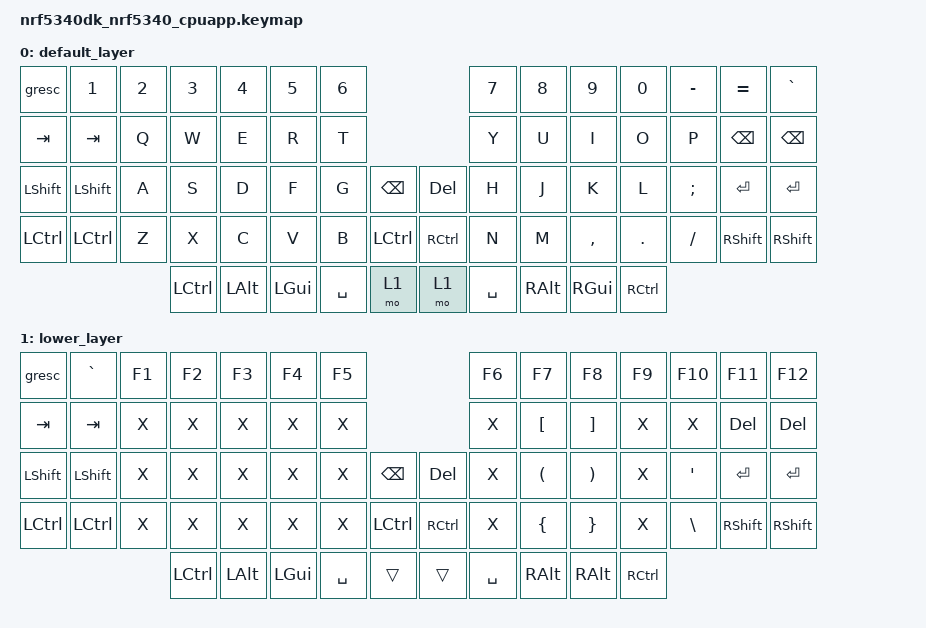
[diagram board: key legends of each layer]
/*
 * Copyright (c) 2021 Marco Sterbik
 *
 * SPDX-License-Identifier: MIT
 */

#include <behaviors.dtsi>
#include <dt-bindings/zmk/keys.h>
#include <dt-bindings/zmk/rgb.h>
#include <dt-bindings/zmk/bt.h>

/ {
	keymap {
		compatible = "zmk,keymap";
		
		default_layer {
// -------------------------------------------
// | ESC  |  `   |  1    |  2   |  3    |  4   |  5           ||        | 6    | 7    | 8    | 9    | 0    | -    | =    |
// | TAB         |  Q    |  W   |  E    |  R   |  T           ||        | Y    | U    | I    | O    | P    | BSPC        |
// | SHIFT       |  A    |  S   |  D    |  F   |  G   | BSPC  || DEL    | H    | J    | K    | L    | SEMI | ENTER       |
// | CTRL        |  Z    |  X   |  C    |  V   |  B   | CTRL  || CTRL   | N    | M    | COMMA| DOT  | FSLH | SHIFT       |
// |                           unused \\  WIN  | SPACE| MOD 1 || MOD 1| SPACE | ALT // unused
// ---------------------------------------------------||--------
			bindings = <
	&gresc      &kp N1      &kp N2      &kp N3      &kp N4      &kp N5      &kp N6                              &kp N7      &kp N8      &kp N9      &kp N0      &kp MINUS   &kp EQUAL   &kp GRAVE
	&kp TAB     &kp TAB     &kp Q       &kp W       &kp E       &kp R       &kp T                               &kp Y       &kp U       &kp I       &kp O       &kp P       &kp BSPC    &kp BSPC
	&kp LSHFT   &kp LSHFT   &kp A       &kp S       &kp D       &kp F       &kp G       &kp BSPC    &kp DEL     &kp H       &kp J       &kp K       &kp L       &kp SEMI    &kp ENTER   &kp ENTER 
	&kp LCTRL   &kp LCTRL   &kp Z       &kp X       &kp C       &kp V       &kp B       &kp LCTRL   &kp RCTRL   &kp N       &kp M       &kp COMMA   &kp DOT     &kp FSLH    &kp RSHFT   &kp RSHFT 
                                        &kp LCTRL   &kp LALT    &kp LGUI    &kp SPACE   &mo 1       &mo 1       &kp SPACE   &kp RALT    &kp RGUI    &kp RCTRL 
            >;
		};

        lower_layer {
// -------------------------------------------
// | ESC  |  `   |  1  |  2  |  3  |  4  |  5  |
// | TAB  | TAB  |  Q  |  W  |  E  |  R  |  T  |
// | CAPS | CAPS |  A  |  S  |  D  |  F  |  G  |
// | SHIFT| SHIFT|  Z  |  X  |  C  |  V  |  B  |
// |  CTL  |  WIN  |  ALT  |            SPACE              |  ALT  |  WIN  |  MO(1) |  CTL  |
// ------------------------------------------------------------------------------------------
			bindings = <
	&gresc      &kp GRAVE   &kp F1      &kp F2      &kp F3      &kp F4      &kp F5                              &kp F6      &kp F7      &kp F8      &kp F9      &kp F10     &kp F11     &kp F12  
	&kp TAB     &kp TAB     &kp X       &kp X       &kp X       &kp X       &kp X                               &kp X       &kp LBKT    &kp RBKT    &kp X       &kp X       &kp DEL     &kp DEL
	&kp LSHFT   &kp LSHFT   &kp X       &kp X       &kp X       &kp X       &kp X       &kp BSPC    &kp DEL     &kp X       &kp LPAR    &kp RPAR    &kp X       &kp SQT     &kp ENTER   &kp ENTER
	&kp LCTRL   &kp LCTRL   &kp X       &kp X       &kp X       &kp X       &kp X       &kp LCTRL   &kp RCTRL   &kp X       &kp LBRC    &kp RBRC    &kp X       &kp BSLH    &kp RSHFT   &kp RSHFT
	                                    &kp LCTRL   &kp LALT    &kp LGUI    &kp SPACE   &trans      &trans      &kp SPACE   &kp RALT    &kp RALT    &kp RCTRL
			>;
		};

	};
};
